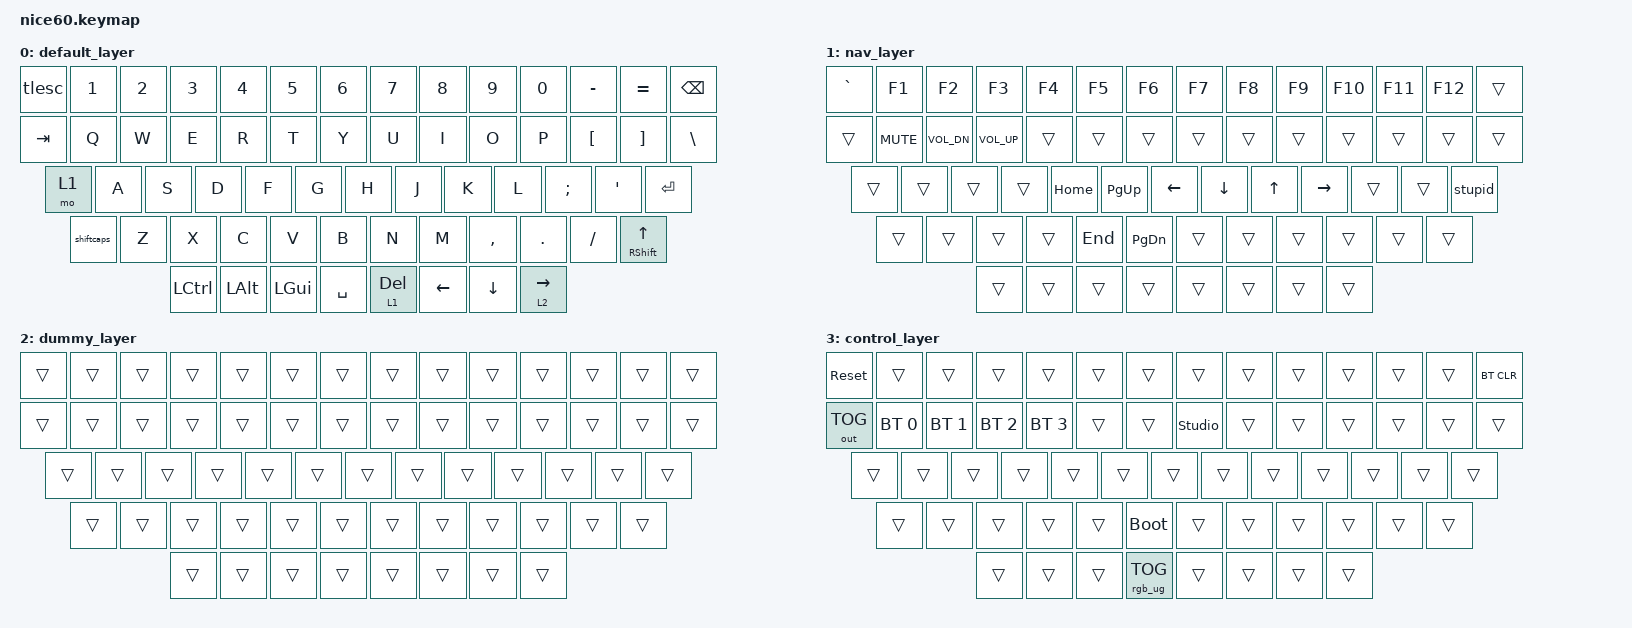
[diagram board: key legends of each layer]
/*
 * Copyright (c) 2021 Nick Winans
 *
 * SPDX-License-Identifier: MIT
 */

#include <behaviors.dtsi>
#include <dt-bindings/zmk/keys.h>
#include <dt-bindings/zmk/rgb.h>
#include <dt-bindings/zmk/bt.h>
#include <dt-bindings/zmk/outputs.h>
#include <dt-bindings/zmk/reset.h>
#include <dt-bindings/zmk/ext_power.h>

/ {

	behaviors {
		tlesc: tilde_escape {
			compatible = "zmk,behavior-mod-morph";
			label = "TILDE_ESCAPE";
			#binding-cells = <0>;
			bindings = <&kp ESC>, <&kp GRAVE>;
           		mods = <(LGUI|LSHIFT|RGUI|RSHIFT)>;
			keep-mods = <(LSHIFT|RSHIFT)>;
		};
		shiftcaps: shift_capslock {
		    compatible = "zmk,behavior-tap-dance";
		    #binding-cells = <0>;
		    tapping-term-ms = <100>;
		    bindings = <&kp RSHIFT>, <&kp CAPS>;
		};
	};
	
	macros {
	    ZMK_MACRO(stupid,
		wait-ms = <10>;
		tap-ms = <10>;
		bindings = 
		  <&macro_press &kp LSHFT>, 
                  <&macro_tap &kp O &kp A>,
                  <&macro_release &kp LSHFT>,
		  <&macro_tap &kp Z &kp H &kp P &kp N2 &kp N9 &kp N9 &kp N7 &kp N9 &kp N2 &kp N4 &kp N5 &kp N8>,
		  <&macro_press &kp LSHFT>, 
                  <&macro_tap &kp N3>,
                  <&macro_release &kp LSHFT>,
		  <&macro_tap &kp RET>;
	    )
	};
	
	conditional_layers {
            compatible = "zmk,conditional-layers";
	    tri_layer {
	        if-layers = <1 2>;
	        then-layer = <3>;
	    };
        };
	
	keymap {
		compatible = "zmk,keymap";
		
		default_layer {
// ------------------------------------------------------------------------------------------
// | ESC |  1  |  2  |  3  |  4  |  5  |  6  |  7  |  8  |  9  |  0  |  -  |  =  |   BKSP   |
// | TAB  |  Q  |  W  |  E  |  R  |  T  |  Y  |  U  |  I  |  O  |  P  |  [  |  ]  |   "|"   |
// | mo(1)  |  A  |  S  |  D  |  F  |  G  |  H  |  J  |  K  |  L  |  ;  |  '  |     ENTER    |
// |  shiftcaps  |  Z  |  X  |  C  |  V  |  B  |  N  |  M  |  ,  |  .  |  /  |      mt(SHIFT,UP)     |
// |  CTL  |  WIN  |  ALT  |            SPACE              |  lt(1, DEL)  |  LEFT  |  DOWN |  lt(2, RIGHT)  |
// ------------------------------------------------------------------------------------------
			bindings = <
	&tlesc  &kp N1 &kp N2 &kp N3 &kp N4 &kp N5 &kp N6 &kp N7 &kp N8 &kp N9 &kp N0 &kp MINUS &kp EQUAL  &kp BSPC
	&kp TAB  &kp Q  &kp W  &kp E  &kp R  &kp T  &kp Y  &kp U  &kp I  &kp O  &kp P  &kp LBKT  &kp RBKT  &kp BSLH
	&mo 1   &kp A  &kp S  &kp D  &kp F  &kp G  &kp H  &kp J  &kp K  &kp L  &kp SEMI &kp SQT           &kp RET
	&shiftcaps   &kp Z  &kp X  &kp C  &kp V  &kp B  &kp N  &kp M  &kp COMMA &kp DOT &kp FSLH       &mt RSHFT UP
	&kp LCTRL &kp LALT &kp LGUI             &kp SPACE                     &lt 1 DEL  &kp LEFT  &kp DOWN   &lt 2 RIGHT
			>;
		};

		nav_layer {
// ------------------------------------------------------------------------------------------------
// | ~   | F1  | F2  | F3  | F4  | F5  | F6  | F7  | F8  | F9  | F10  | F11 | F12 |         |
// |     | MUTE| VOL-| VOL+ |     |     |     |     |     |     |      |     |     |           |
// |     |     |     |     |   HOME | PGUP | LEFT | DOWN | UP  |  RIGHT   |   |     |  macro:stupid |
// |     |     |      |      |  END   |  PGDN   |     |     |     |     |     |                  |
// |     |      |      |             TOG RGB                |  |       |       |    |
// ------------------------------------------------------------------------------------------------
			bindings = <
	&kp GRAVE  &kp F1    &kp F2    &kp F3  &kp F4  &kp F5 &kp F6  &kp F7  &kp F8   &kp F9   &kp F10  &kp F11 &kp F12  &trans
	&trans  &kp K_MUTE  &kp C_VOL_DN  &kp C_VOL_UP  &trans  &trans &trans  &trans   &trans   &trans   &trans  &trans    &trans &trans
	&trans   &trans  &trans  &trans &kp HOME &kp PG_UP &kp LEFT &kp DOWN  &kp UP   &kp RIGHT   &trans   &trans        &stupid
	&trans    &trans    &trans    &trans   &kp END  &kp PG_DN          &trans          &trans          &trans   &trans   &trans    &trans
	&trans  &trans   &trans                            &trans                                      &trans      &trans      &trans     &trans
			>;
		};
		
		dummy_layer {
// ------------------------------------------------------------------------------------------------
// |     |     |     |     |     |     |     |     |     |     |      |     |     |           |
// |     |     |     |     |     |     |     |     |     |     |      |     |     |           |
// |     |     |     |     |     |     |     |     |    |      |   |     |    |
// |     |     |      |      |      |      |     |     |     |     |     |                  |
// |     |      |      |                             |  |       |       |    |
// ------------------------------------------------------------------------------------------------
			bindings = <
	&trans  &trans    &trans    &trans  &trans  &trans &trans  &trans  &trans   &trans   &trans  &trans &trans  &trans
	&trans  &trans  &trans  &trans  &trans  &trans &trans  &trans   &trans   &trans   &trans  &trans    &trans &trans
	&trans   &trans  &trans  &trans &trans &trans &trans &trans  &trans   &trans   &trans   &trans        &trans
	&trans    &trans    &trans    &trans   &trans  &trans          &trans          &trans          &trans   &trans   &trans    &trans
	&trans  &trans   &trans                            &trans                                      &trans      &trans      &trans     &trans
			>;
		};
		
		control_layer {
// ------------------------------------------------------------------------------------------------
// |  reset   |     |     |     |     |     |     |     |     |     |      |     |     |  BT_CLR   |
// | OUT_TOG | BT1 | BT2 | BT3 | BT4 |     |     |studio unlock     |     |     |      |     |     |           |
// |     |     |     |     |     |     |     |     |     |     |      |     |     |           |
// |     |     |      |      |      |   bootloader   |     |     |     |     |     |                  |
// |     |      |      |          RGB TOGGLE                   |  |       |       |    |
// ------------------------------------------------------------------------------------------------
			bindings = <
	&sys_reset  &trans    &trans    &trans  &trans  &trans &trans  &trans  &trans   &trans   &trans  &trans &trans  &bt BT_CLR
	&out OUT_TOG  &bt BT_SEL 0  &bt BT_SEL 1  &bt BT_SEL 2  &bt BT_SEL 3  &trans &trans  &studio_unlock   &trans   &trans   &trans  &trans    &trans &trans
	&trans   &trans  &trans  &trans &trans &trans &trans &trans  &trans   &trans   &trans   &trans        &trans
	&trans    &trans    &trans    &trans   &trans  &bootloader      &trans          &trans          &trans   &trans   &trans    &trans
	&trans  &trans   &trans                      &rgb_ug RGB_TOG                         &trans      &trans      &trans     &trans
			>;
		};
	};
};
